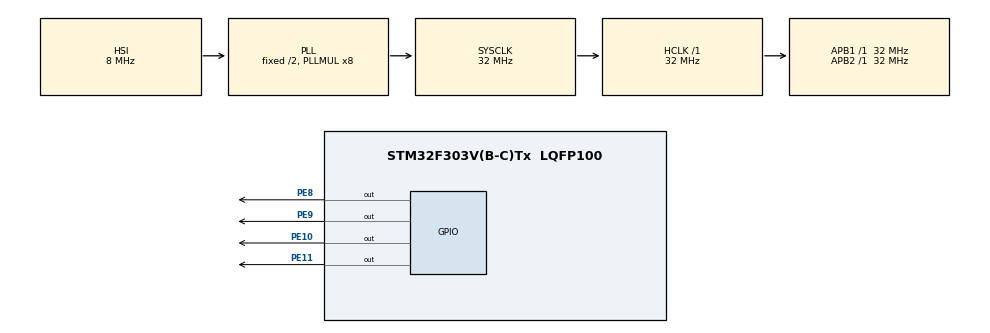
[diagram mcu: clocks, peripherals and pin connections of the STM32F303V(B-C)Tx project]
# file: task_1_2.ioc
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FREERTOS.Tasks01=defaultTask,24,128,StartDefaultTask,Default,NULL,Dynamic,NULL,NULL;LedController,8,128,ledController,Default,NULL,Dynamic,NULL,NULL
FREERTOS.configUSE_IDLE_HOOK=1
Mcu.Family=STM32F3
Mcu.Name=STM32F303V(B-C)Tx
Mcu.Package=LQFP100
NVIC.PriorityGroup=NVIC_PRIORITYGROUP_4
NVIC.TIM1_UP_TIM16_IRQn=true\:0\:0\:false\:false\:true\:false\:false\:true
NVIC.TimeBase=TIM1_UP_TIM16_IRQn
NVIC.TimeBaseIP=TIM1
PE10.Signal=GPIO_Output
PE11.Signal=GPIO_Output
PE8.Signal=GPIO_Output
PE9.Signal=GPIO_Output
ProjectManager.HeapSize=0x200
ProjectManager.StackSize=0x400
ProjectManager.TargetToolchain=MDK-ARM V5.27
RCC.AHBFreq_Value=32000000
RCC.APB1Freq_Value=32000000
RCC.APB1TimFreq_Value=32000000
RCC.APB2Freq_Value=32000000
RCC.APB2TimFreq_Value=32000000
RCC.CortexFreq_Value=32000000
RCC.HCLKFreq_Value=32000000
RCC.HSE_VALUE=8000000
RCC.HSI_VALUE=8000000
RCC.LSE_VALUE=32768
RCC.PLLMUL=RCC_PLL_MUL8
RCC.SYSCLKFreq_VALUE=32000000
RCC.SYSCLKSourceVirtual=RCC_SYSCLKSOURCE_PLLCLK
RCC.USBFreq_Value=32000000
VP_FREERTOS_VS_CMSIS_V2.Mode=CMSIS_V2
VP_SYS_VS_tim1.Mode=TIM1
board=custom

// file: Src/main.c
/* USER CODE BEGIN Header */
/**
  ******************************************************************************
  * @file           : main.c
  * @brief          : Main program body
  ******************************************************************************
  * @attention
  *
  * <h2><center>&copy; Copyright (c) 2020 STMicroelectronics.
  * All rights reserved.</center></h2>
  *
  * This software component is licensed by ST under Ultimate Liberty license
  * SLA0044, the "License"; You may not use this file except in compliance with
  * the License. You may obtain a copy of the License at:
  *                             www.st.com/SLA0044
  *
  ******************************************************************************
  */
/* USER CODE END Header */

#include "main.h"
#include "cmsis_os.h"
#include "stm32f3xx_hal.h"

osThreadId_t defaultTaskHandle;
osThreadId_t LedControllerHandle;
/* USER CODE BEGIN PV */
osThreadId_t redLedControllerHandle;
osThreadId_t orangeLedControllerHandle;
osThreadId_t greenLedControllerHandle;
/* USER CODE END PV */

void SystemClock_Config(void);
static void MX_GPIO_Init(void);
void StartDefaultTask(void *argument);
void ledController(void *argument);

int main(void)
{

  /* MCU Configuration--------------------------------------------------------*/

  /* Reset of all peripherals, Initializes the Flash interface and the Systick. */
  HAL_Init();

  /* Configure the system clock */
  SystemClock_Config();

  /* Initialize all configured peripherals */
  MX_GPIO_Init();

  osKernelInitialize();

  /* Create the thread(s) */
  /* definition and creation of defaultTask */
  const osThreadAttr_t defaultTask_attributes = {
    .name = "defaultTask",
    .priority = (osPriority_t) osPriorityNormal,
    .stack_size = 128
  };
  defaultTaskHandle = osThreadNew(StartDefaultTask, NULL, &defaultTask_attributes);

  /* definition and creation of LedController */
  const osThreadAttr_t LedController_attributes = {
    .name = "LedController",
    .priority = (osPriority_t) osPriorityLow,
    .stack_size = 128
  };
  LedControllerHandle = osThreadNew(ledController, (uint16_t*)GPIO_PIN_8, &LedController_attributes);

  /* USER CODE BEGIN RTOS_THREADS */
  /* add threads, ... */

	/* definition and creation of LedController */
  const osThreadAttr_t redLedController_attributes = {
    .name = "RedLedController",
    .priority = (osPriority_t) osPriorityLow,
    .stack_size = 128
  };
	redLedControllerHandle = osThreadNew(ledController, (uint16_t*)GPIO_PIN_9, &redLedController_attributes);

	/* definition and creation of LedController */
  const osThreadAttr_t orangeLedController_attributes = {
    .name = "OrangeLedController",
    .priority = (osPriority_t) osPriorityLow,
    .stack_size = 128
  };
	orangeLedControllerHandle = osThreadNew(ledController, (uint16_t*)GPIO_PIN_10, &orangeLedController_attributes);

	/* definition and creation of LedController */
  const osThreadAttr_t greenLedController_attributes = {
    .name = "GreenLedController",
    .priority = (osPriority_t) osPriorityLow,
    .stack_size = 128
  };
	greenLedControllerHandle = osThreadNew(ledController, (uint16_t*)GPIO_PIN_11, &greenLedController_attributes);

  /* USER CODE END RTOS_THREADS */

  /* Start scheduler */
  osKernelStart();

  /* We should never get here as control is now taken by the scheduler */

  /* Infinite loop */
  while (1)
  {

  }
}

void SystemClock_Config(void)
{
  RCC_OscInitTypeDef RCC_OscInitStruct = {0};
  RCC_ClkInitTypeDef RCC_ClkInitStruct = {0};

  /** Initializes the CPU, AHB and APB busses clocks
  */
  RCC_OscInitStruct.OscillatorType = RCC_OSCILLATORTYPE_HSI;
  RCC_OscInitStruct.HSIState = RCC_HSI_ON;
  RCC_OscInitStruct.HSICalibrationValue = RCC_HSICALIBRATION_DEFAULT;
  RCC_OscInitStruct.PLL.PLLState = RCC_PLL_ON;
  RCC_OscInitStruct.PLL.PLLSource = RCC_PLLSOURCE_HSI;
  RCC_OscInitStruct.PLL.PLLMUL = RCC_PLL_MUL8;
  if (HAL_RCC_OscConfig(&RCC_OscInitStruct) != HAL_OK)
  {
    Error_Handler();
  }
  /** Initializes the CPU, AHB and APB busses clocks
  */
  RCC_ClkInitStruct.ClockType = RCC_CLOCKTYPE_HCLK|RCC_CLOCKTYPE_SYSCLK
                              |RCC_CLOCKTYPE_PCLK1|RCC_CLOCKTYPE_PCLK2;
  RCC_ClkInitStruct.SYSCLKSource = RCC_SYSCLKSOURCE_PLLCLK;
  RCC_ClkInitStruct.AHBCLKDivider = RCC_SYSCLK_DIV1;
  RCC_ClkInitStruct.APB1CLKDivider = RCC_HCLK_DIV1;
  RCC_ClkInitStruct.APB2CLKDivider = RCC_HCLK_DIV1;

  if (HAL_RCC_ClockConfig(&RCC_ClkInitStruct, FLASH_LATENCY_1) != HAL_OK)
  {
    Error_Handler();
  }
}

static void MX_GPIO_Init(void)
{
  GPIO_InitTypeDef GPIO_InitStruct = {0};

  /* GPIO Ports Clock Enable */
  __HAL_RCC_GPIOE_CLK_ENABLE();

  /*Configure GPIO pin Output Level */
  HAL_GPIO_WritePin(GPIOE, GPIO_PIN_8|GPIO_PIN_9|GPIO_PIN_10|GPIO_PIN_11, GPIO_PIN_RESET);

  /*Configure GPIO pins : PE8 PE9 PE10 PE11 */
  GPIO_InitStruct.Pin = GPIO_PIN_8|GPIO_PIN_9|GPIO_PIN_10|GPIO_PIN_11;
  GPIO_InitStruct.Mode = GPIO_MODE_OUTPUT_PP;
  GPIO_InitStruct.Pull = GPIO_NOPULL;
  GPIO_InitStruct.Speed = GPIO_SPEED_FREQ_LOW;
  HAL_GPIO_Init(GPIOE, &GPIO_InitStruct);

}

void StartDefaultTask(void *argument)
{
  for(;;)
  {
    osDelay(1);
  }
}

void ledController(void *argument)
{
  /* USER CODE BEGIN ledController */
	uint8_t blinks = 0;
	const uint8_t maxNumberOfBlinks = 10;

  /* Infinite loop */
  for(;;)
  {
		HAL_GPIO_TogglePin(GPIOE, (uint16_t)argument);
		blinks++;
		if (blinks >= maxNumberOfBlinks)
		{
				osThreadTerminate(redLedControllerHandle);
				osThreadTerminate(orangeLedControllerHandle);
		}
		if (blinks >= 2 * maxNumberOfBlinks)
		{
				osThreadSetPriority(LedControllerHandle, (osPriority_t)osPriorityNormal);
		}
		if (blinks >= 3 * maxNumberOfBlinks)
		{
				osThreadTerminate(LedControllerHandle);
		}
    //osDelay(1000);
		for (uint32_t i = 0; i < 1000000; ++i){}
  }
  /* USER CODE END ledController */
}

void HAL_TIM_PeriodElapsedCallback(TIM_HandleTypeDef *htim)
{
  if (htim->Instance == TIM1) {
    HAL_IncTick();
  }
}

void Error_Handler(void)
{
}

/************************ (C) COPYRIGHT STMicroelectronics *****END OF FILE****/
